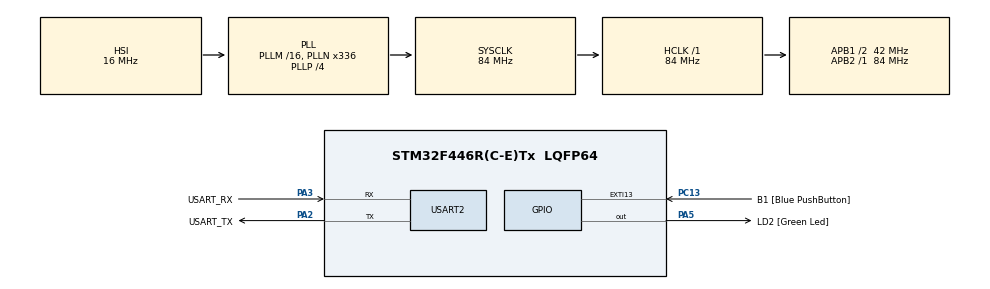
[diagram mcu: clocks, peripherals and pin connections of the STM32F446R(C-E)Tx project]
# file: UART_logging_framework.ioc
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Mcu.Family=STM32F4
Mcu.Name=STM32F446R(C-E)Tx
Mcu.Package=LQFP64
NVIC.PriorityGroup=NVIC_PRIORITYGROUP_0
NVIC.USART2_IRQn=true\:0\:0\:false\:false\:true\:true\:true\:true
PA13.GPIO_Label=TMS
PA13.Mode=Serial_Wire
PA13.Signal=SYS_JTMS-SWDIO
PA14.GPIO_Label=TCK
PA14.Mode=Serial_Wire
PA14.Signal=SYS_JTCK-SWCLK
PA2.GPIO_Label=USART_TX
PA2.Mode=Asynchronous
PA2.Signal=USART2_TX
PA3.GPIO_Label=USART_RX
PA3.Mode=Asynchronous
PA3.Signal=USART2_RX
PA5.GPIO_Label=LD2 [Green Led]
PA5.Signal=GPIO_Output
PB3.GPIO_Label=SWO
PB3.Signal=SYS_JTDO-SWO
PC13.GPIO_Label=B1 [Blue PushButton]
PC13.GPIO_ModeDefaultEXTI=GPIO_MODE_IT_FALLING
PC13.Signal=GPXTI13
PC14-OSC32_IN.Mode=LSE-External-Oscillator
PC14-OSC32_IN.Signal=RCC_OSC32_IN
PC15-OSC32_OUT.Mode=LSE-External-Oscillator
PC15-OSC32_OUT.Signal=RCC_OSC32_OUT
PH0-OSC_IN.Mode=HSE-External-Oscillator
PH0-OSC_IN.Signal=RCC_OSC_IN
PH1-OSC_OUT.Mode=HSE-External-Oscillator
PH1-OSC_OUT.Signal=RCC_OSC_OUT
ProjectManager.HeapSize=0x200
ProjectManager.StackSize=0x400
ProjectManager.TargetToolchain=STM32CubeIDE
RCC.48MHZClocksFreq_Value=84000000
RCC.AHBFreq_Value=84000000
RCC.APB1CLKDivider=RCC_HCLK_DIV2
RCC.APB1Freq_Value=42000000
RCC.APB1TimFreq_Value=84000000
RCC.APB2Freq_Value=84000000
RCC.APB2TimFreq_Value=84000000
RCC.CortexFreq_Value=84000000
RCC.FLatency-AdvancedSettings=FLASH_LATENCY_2
RCC.HCLKFreq_Value=84000000
RCC.HSE_VALUE=8000000
RCC.HSI_VALUE=16000000
RCC.PLLN=336
RCC.PLLP=RCC_PLLP_DIV4
RCC.SYSCLKFreq_VALUE=84000000
RCC.SYSCLKSource=RCC_SYSCLKSOURCE_PLLCLK
RCC.USBFreq_Value=168000000
RCC.VCOOutputFreq_Value=336000000
USART2.VirtualMode=VM_ASYNC
board=NUCLEO-F446RE

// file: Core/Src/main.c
/* USER CODE BEGIN Header */
/**
  ******************************************************************************
  * @file           : main.c
  * @brief          : Main program body
  ******************************************************************************
  * @attention
  *
  * Copyright (c) 2026 STMicroelectronics.
  * All rights reserved.
  *
  * This software is licensed under terms that can be found in the LICENSE file
  * in the root directory of this software component.
  * If no LICENSE file comes with this software, it is provided AS-IS.
  *
  ******************************************************************************
  */
/* USER CODE END Header */
#include "main.h"

/* USER CODE BEGIN PTD */
#define UART_BUFFER_SIZE 128

typedef struct {
    uint8_t buffer[UART_BUFFER_SIZE];
    volatile uint16_t head;
    volatile uint16_t tail;
} RingBuffer;
/* USER CODE END PTD */

/* USER CODE BEGIN PD */
uint8_t single_rx_byte;
RingBuffer rx_ring_buffer = { {0}, 0, 0 };
/* USER CODE END PD */

UART_HandleTypeDef huart2;

/* USER CODE BEGIN PV */
uint8_t rx_data;
/* USER CODE END PV */

void SystemClock_Config(void);
static void MX_GPIO_Init(void);
static void MX_USART2_UART_Init(void);
/* USER CODE BEGIN PFP */
void RingBuffer_Write(RingBuffer *rb, uint8_t data)
{
    uint16_t next_head = (rb->head + 1) % UART_BUFFER_SIZE;
    if (next_head != rb->tail) // Check if full
    {
        rb->buffer[rb->head] = data;
        rb->head = next_head;
    }
}

int RingBuffer_Read(RingBuffer *rb, uint8_t *data)
{
    if (rb->head == rb->tail)
    {
        return 0; // Buffer is empty
    }
    *data = rb->buffer[rb->tail];
    rb->tail = (rb->tail + 1) % UART_BUFFER_SIZE;
    return 1; // Success
}
/* USER CODE END PFP */

int main(void)
{

  /* MCU Configuration--------------------------------------------------------*/

  /* Reset of all peripherals, Initializes the Flash interface and the Systick. */
  HAL_Init();

  /* Configure the system clock */
  SystemClock_Config();

  /* Initialize all configured peripherals */
  MX_GPIO_Init();
  MX_USART2_UART_Init();
  /* USER CODE BEGIN 2 */
  /* USER CODE BEGIN 2 */
  HAL_UART_Receive_IT(&huart2, &single_rx_byte, 1);
  /* USER CODE END 2 */

  /* Infinite loop */
  /* USER CODE BEGIN WHILE */
  while (1)
  {
    uint8_t c;
    if (RingBuffer_Read(&rx_ring_buffer, &c))
    {
      HAL_UART_Transmit(&huart2, &c, 1, HAL_MAX_DELAY);
    }
  }
    /* USER CODE END WHILE */

  }

void SystemClock_Config(void)
{
  RCC_OscInitTypeDef RCC_OscInitStruct = {0};
  RCC_ClkInitTypeDef RCC_ClkInitStruct = {0};

  /** Configure the main internal regulator output voltage
  */
  __HAL_RCC_PWR_CLK_ENABLE();
  __HAL_PWR_VOLTAGESCALING_CONFIG(PWR_REGULATOR_VOLTAGE_SCALE3);

  /** Initializes the RCC Oscillators according to the specified parameters
  * in the RCC_OscInitTypeDef structure.
  */
  RCC_OscInitStruct.OscillatorType = RCC_OSCILLATORTYPE_HSI;
  RCC_OscInitStruct.HSIState = RCC_HSI_ON;
  RCC_OscInitStruct.HSICalibrationValue = RCC_HSICALIBRATION_DEFAULT;
  RCC_OscInitStruct.PLL.PLLState = RCC_PLL_ON;
  RCC_OscInitStruct.PLL.PLLSource = RCC_PLLSOURCE_HSI;
  RCC_OscInitStruct.PLL.PLLM = 16;
  RCC_OscInitStruct.PLL.PLLN = 336;
  RCC_OscInitStruct.PLL.PLLP = RCC_PLLP_DIV4;
  RCC_OscInitStruct.PLL.PLLQ = 2;
  RCC_OscInitStruct.PLL.PLLR = 2;
  if (HAL_RCC_OscConfig(&RCC_OscInitStruct) != HAL_OK)
  {
    Error_Handler();
  }

  /** Initializes the CPU, AHB and APB buses clocks
  */
  RCC_ClkInitStruct.ClockType = RCC_CLOCKTYPE_HCLK|RCC_CLOCKTYPE_SYSCLK
                              |RCC_CLOCKTYPE_PCLK1|RCC_CLOCKTYPE_PCLK2;
  RCC_ClkInitStruct.SYSCLKSource = RCC_SYSCLKSOURCE_PLLCLK;
  RCC_ClkInitStruct.AHBCLKDivider = RCC_SYSCLK_DIV1;
  RCC_ClkInitStruct.APB1CLKDivider = RCC_HCLK_DIV2;
  RCC_ClkInitStruct.APB2CLKDivider = RCC_HCLK_DIV1;

  if (HAL_RCC_ClockConfig(&RCC_ClkInitStruct, FLASH_LATENCY_2) != HAL_OK)
  {
    Error_Handler();
  }
}

static void MX_USART2_UART_Init(void)
{

  huart2.Instance = USART2;
  huart2.Init.BaudRate = 115200;
  huart2.Init.WordLength = UART_WORDLENGTH_8B;
  huart2.Init.StopBits = UART_STOPBITS_1;
  huart2.Init.Parity = UART_PARITY_NONE;
  huart2.Init.Mode = UART_MODE_TX_RX;
  huart2.Init.HwFlowCtl = UART_HWCONTROL_NONE;
  huart2.Init.OverSampling = UART_OVERSAMPLING_16;
  if (HAL_UART_Init(&huart2) != HAL_OK)
  {
    Error_Handler();
  }

}

static void MX_GPIO_Init(void)
{
  GPIO_InitTypeDef GPIO_InitStruct = {0};

  /* GPIO Ports Clock Enable */
  __HAL_RCC_GPIOC_CLK_ENABLE();
  __HAL_RCC_GPIOH_CLK_ENABLE();
  __HAL_RCC_GPIOA_CLK_ENABLE();
  __HAL_RCC_GPIOB_CLK_ENABLE();

  /*Configure GPIO pin Output Level */
  HAL_GPIO_WritePin(LD2_GPIO_Port, LD2_Pin, GPIO_PIN_RESET);

  /*Configure GPIO pin : B1_Pin */
  GPIO_InitStruct.Pin = B1_Pin;
  GPIO_InitStruct.Mode = GPIO_MODE_IT_FALLING;
  GPIO_InitStruct.Pull = GPIO_NOPULL;
  HAL_GPIO_Init(B1_GPIO_Port, &GPIO_InitStruct);

  /*Configure GPIO pin : LD2_Pin */
  GPIO_InitStruct.Pin = LD2_Pin;
  GPIO_InitStruct.Mode = GPIO_MODE_OUTPUT_PP;
  GPIO_InitStruct.Pull = GPIO_NOPULL;
  GPIO_InitStruct.Speed = GPIO_SPEED_FREQ_LOW;
  HAL_GPIO_Init(LD2_GPIO_Port, &GPIO_InitStruct);

}

/* USER CODE BEGIN 4 */
/* USER CODE BEGIN 4 */
void HAL_UART_RxCpltCallback(UART_HandleTypeDef *huart)
{
    if (huart->Instance == USART2)
    {
        RingBuffer_Write(&rx_ring_buffer, single_rx_byte);
        HAL_UART_Receive_IT(&huart2, &single_rx_byte, 1); // Re-arm
    }
}
/* USER CODE END 4 */

void Error_Handler(void)
{
  __disable_irq();
  while (1)
  {
  }
}
